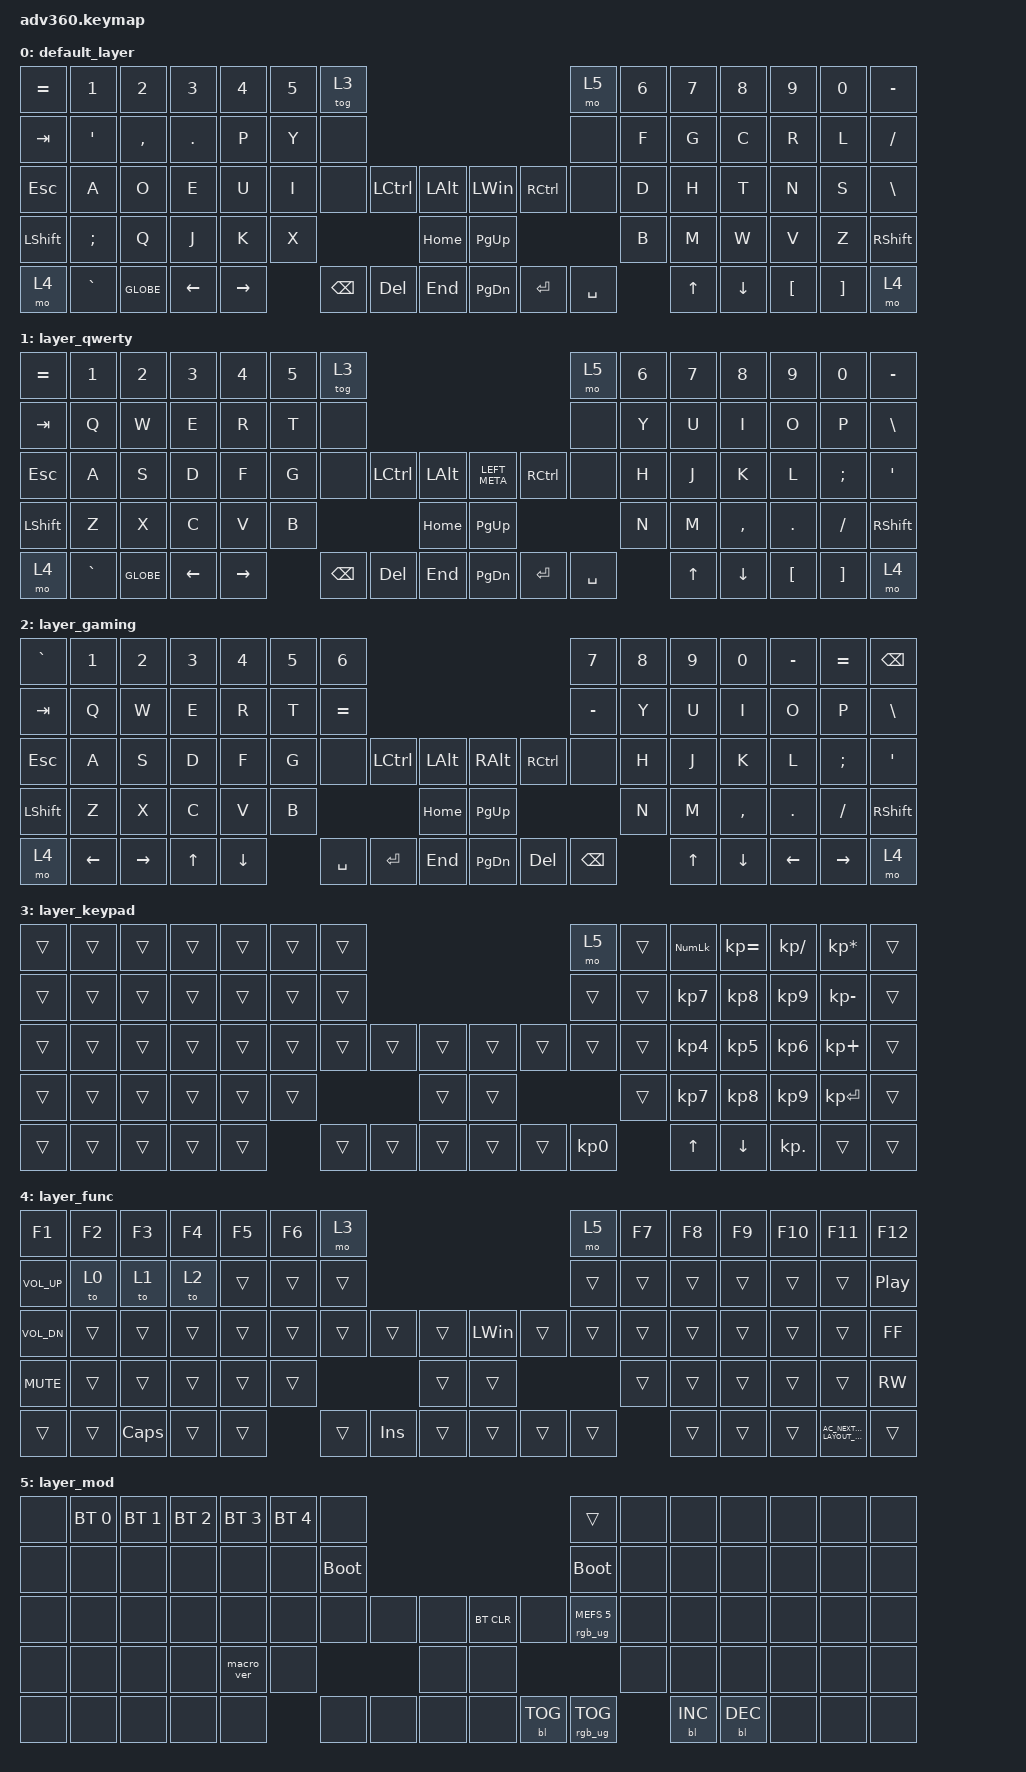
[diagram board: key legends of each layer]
/*
 * Copyright (c) 2020 The ZMK Contributors
 *
 * SPDX-License-Identifier: MIT
 */
/* THIS FILE WAS GENERATED!
 *
 * This file was generated automatically. You may or may not want to
 * edit it directly.
 */

#include <behaviors.dtsi>
#include <dt-bindings/zmk/backlight.h>
#include <dt-bindings/zmk/bt.h>
#include <dt-bindings/zmk/keys.h>
#include <dt-bindings/zmk/rgb.h>

/ {
    behaviors {
        #include "macros.dtsi"
    #include "version.dtsi"

        hm: homerow_mods {
            compatible = "zmk,behavior-hold-tap";
            label = "HOMEROW_MODS";
            #binding-cells = <2>;
            tapping-term-ms = <200>;
            quick_tap_ms = <175>;
            flavor = "tap-preferred";
            bindings = <&kp>, <&kp>;
        };
    };

    keymap {
        compatible = "zmk,keymap";

        default_layer {
            bindings = <
&kp EQUAL  &kp N1     &kp N2     &kp N3      &kp N4     &kp N5  &tog 3                                                      &mo 5      &kp N6  &kp N7  &kp N8    &kp N9    &kp N0    &kp MINUS
&kp TAB    &kp SQT    &kp COMMA  &kp PERIOD  &kp P      &kp Y   &none                                                       &none      &kp F   &kp G   &kp C     &kp R     &kp L     &kp SLASH
&kp ESC    &kp A      &kp O      &kp E       &kp U      &kp I   &none     &kp LCTRL  &kp LALT      &kp LEFT_WIN  &kp RCTRL  &none      &kp D   &kp H   &kp T     &kp N     &kp S     &kp BSLH
&kp LSHFT  &kp SEMI   &kp Q      &kp J       &kp K      &kp X                        &kp HOME      &kp PG_UP                           &kp B   &kp M   &kp W     &kp V     &kp Z     &kp RSHFT
&mo 4      &kp GRAVE  &kp GLOBE  &kp LEFT    &kp RIGHT          &kp BSPC  &kp DEL    &kp END       &kp PG_DN     &kp ENTER  &kp SPACE          &kp UP  &kp DOWN  &kp LBKT  &kp RBKT  &mo 4
            >;
        };

        layer_qwerty {
            bindings = <
&kp EQUAL  &kp N1     &kp N2     &kp N3    &kp N4     &kp N5  &tog 3                                                       &mo 5      &kp N6  &kp N7  &kp N8     &kp N9            &kp N0    &kp MINUS
&kp TAB    &kp Q      &kp W      &kp E     &kp R      &kp T   &none                                                        &none      &kp Y   &kp U   &kp I      &kp O             &kp P     &kp BSLH
&kp ESC    &kp A      &kp S      &kp D     &kp F      &kp G   &none     &kp LCTRL  &kp LALT      &kp LEFT_META  &kp RCTRL  &none      &kp H   &kp J   &kp K      &kp L             &kp SEMI  &kp SQT
&kp LSHFT  &kp Z      &kp X      &kp C     &kp V      &kp B                        &kp HOME      &kp PG_UP                            &kp N   &kp M   &kp COMMA  &kp PERIOD        &kp FSLH  &kp RSHFT
&mo 4      &kp GRAVE  &kp GLOBE  &kp LEFT  &kp RIGHT          &kp BSPC  &kp DEL    &kp END       &kp PG_DN      &kp ENTER  &kp SPACE          &kp UP  &kp DOWN   &kp LEFT_BRACKET  &kp RBKT  &mo 4
            >;
        };

        layer_gaming {
            bindings = <
&kp GRAVE       &kp NUMBER_1  &kp NUMBER_2  &kp NUMBER_3  &kp NUMBER_4  &kp NUMBER_5  &kp N6                                                                           &kp N7     &kp N8  &kp N9  &kp N0     &kp MINUS   &kp EQUAL  &kp BACKSPACE
&kp TAB         &kp Q         &kp W         &kp E         &kp R         &kp T         &kp EQUAL                                                                        &kp MINUS  &kp Y   &kp U   &kp I      &kp O       &kp P      &kp BSLH
&kp ESC         &kp A         &kp S         &kp D         &kp F         &kp G         &none      &kp LEFT_CONTROL  &kp LEFT_ALT      &kp RIGHT_ALT  &kp RIGHT_CONTROL  &none      &kp H   &kp J   &kp K      &kp L       &kp SEMI   &kp SQT
&kp LEFT_SHIFT  &kp Z         &kp X         &kp C         &kp V         &kp B                                      &kp HOME          &kp PG_UP                                    &kp N   &kp M   &kp COMMA  &kp PERIOD  &kp SLASH  &kp RIGHT_SHIFT
&mo 4           &kp LEFT      &kp RIGHT     &kp UP        &kp DOWN                    &kp SPACE  &kp ENTER         &kp END           &kp PG_DN      &kp DELETE         &kp BSPC           &kp UP  &kp DOWN   &kp LEFT    &kp RIGHT  &mo 4
            >;
        };

        layer_keypad {
            bindings = <
&trans  &trans  &trans  &trans  &trans  &trans  &trans                                      &mo 5      &trans  &kp KP_NUM  &kp KP_EQUAL  &kp KP_SLASH  &kp KP_MULTIPLY  &trans
&trans  &trans  &trans  &trans  &trans  &trans  &trans                                      &trans     &trans  &kp KP_N7   &kp KP_N8     &kp KP_N9     &kp KP_MINUS     &trans
&trans  &trans  &trans  &trans  &trans  &trans  &trans  &trans  &trans      &trans  &trans  &trans     &trans  &kp KP_N4   &kp KP_N5     &kp KP_N6     &kp KP_PLUS      &trans
&trans  &trans  &trans  &trans  &trans  &trans                  &trans      &trans                     &trans  &kp KP_N7   &kp KP_N8     &kp KP_N9     &kp KP_ENTER     &trans
&trans  &trans  &trans  &trans  &trans          &trans  &trans  &trans      &trans  &trans  &kp KP_N0          &kp UP      &kp DOWN      &kp KP_DOT    &trans           &trans
            >;
        };

        layer_func {
            bindings = <
&kp F1        &kp F2  &kp F3    &kp F4  &kp F5  &kp F6  &mo 3                                              &mo 5   &kp F7  &kp F8  &kp F9  &kp F10  &kp F11                               &kp F12
&kp C_VOL_UP  &to 0   &to 1     &to 2   &trans  &trans  &trans                                             &trans  &trans  &trans  &trans  &trans   &trans                                &kp C_PLAY_PAUSE
&kp C_VOL_DN  &trans  &trans    &trans  &trans  &trans  &trans  &trans   &trans      &kp LEFT_WIN  &trans  &trans  &trans  &trans  &trans  &trans   &trans                                &kp C_FF
&kp C_MUTE    &trans  &trans    &trans  &trans  &trans                   &trans      &trans                        &trans  &trans  &trans  &trans   &trans                                &kp C_RW
&trans        &trans  &kp CAPS  &trans  &trans          &trans  &kp INS  &trans      &trans        &trans  &trans          &trans  &trans  &trans   &kp C_AC_NEXT_KEYBOARD_LAYOUT_SELECT  &trans
            >;
        };

        layer_mod {
            bindings = <
&none  &bt BT_SEL 0  &bt BT_SEL 1  &bt BT_SEL 2  &bt BT_SEL 3  &bt BT_SEL 4  &none                                                  &trans                  &none  &none       &none       &none  &none  &none
&none  &none         &none         &none         &none         &none         &bootloader                                            &bootloader             &none  &none       &none       &none  &none  &none
&none  &none         &none         &none         &none         &none         &none        &none  &none      &bt BT_CLR  &none       &rgb_ug RGB_MEFS_CMD 5  &none  &none       &none       &none  &none  &none
&none  &none         &none         &none         &macro_ver    &none                             &none      &none                                           &none  &none       &none       &none  &none  &none
&none  &none         &none         &none         &none                       &none        &none  &none      &none       &bl BL_TOG  &rgb_ug RGB_TOG                &bl BL_INC  &bl BL_DEC  &none  &none  &none
            >;
        };
    };
};
